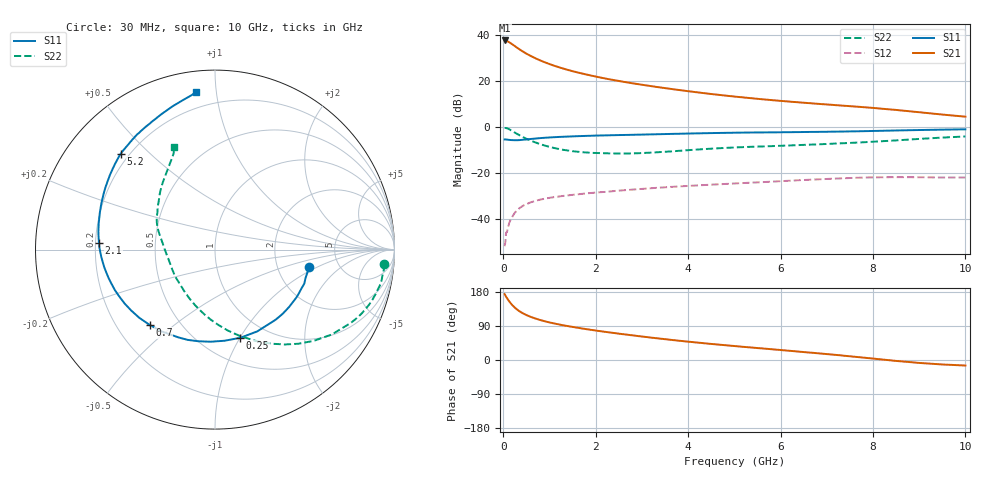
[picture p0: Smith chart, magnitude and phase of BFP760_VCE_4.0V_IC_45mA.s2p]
! Infineon Technologies  Discrete & RF Semiconductors
! BFP760
! VCE =  4.0 V,  IC =  45 mA
! Common Emitter S-Parameters:  Nov 2012
# GHz  S  MA  R  50
!  f  S11  S21  S12  S22
! GHz  MAG  ANG  MAG  ANG  MAG  ANG  MAG  ANG
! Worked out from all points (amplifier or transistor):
!   99 points, 30 MHz to 10 GHz, reference 50 ohm
!   highest |S21| = 37.7 dB at 30 MHz (marker M1)
!   |S21| within 3 dB of that: start of sweep to 289 MHz
!   unconditionally stable (mu >= 1): 3.801 GHz to end of sweep
!   at 350 MHz: K = 0.37, MSG = 34.7 dB, |S12| = -35.5 dB
!   at 3.5 GHz: K = 0.98, MSG = 21.6 dB, |S12| = -26.4 dB
!   at 10 GHz: K = 1.05, MAG = 11.9 dB, |S12| = -22.1 dB
!   S11 on the Smith chart (normalised r, x): 30 MHz: 3.02, -0.80; 250 MHz: 0.75, -1.00; 700 MHz: 0.34, -0.41; 2.1 GHz: 0.21, +0.03; 5.2 GHz: 0.17, +0.41; 10 GHz: 0.11, +0.88
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0.03  0.53 -10.3  76.41 173.8  0.0025 69.1  0.9475 -5.0
0.07  0.5278 -24.6  74.96 165.4  0.005 71.6  0.9348 -13.6
0.1  0.523 -34.2  72.5 159.8  0.0064 72.3  0.9124 -19.5
0.13  0.5195 -43.5  69.65 154.7  0.0081 66.9  0.8832 -24.9
0.15  0.5162 -49.4  67.73 151.5  0.009 69.1  0.8604 -28.3
0.2  0.5129 -62.7  62.58 144.3  0.0111 64.7  0.8046 -36.0
0.25  0.5112 -74.0  57.72 138.3  0.0134 62.1  0.7502 -42.6
0.3  0.5106 -84.0  53.12 133.1  0.0151 58.1  0.7014 -48.4
0.35  0.5138 -92.7  49.02 128.8  0.0168 56.4  0.6566 -53.6
0.45  0.5255 -106.8  42.31 121.7  0.0196 52.7  0.5825 -62.7
0.6  0.5436 -122.8  34.86 113.6  0.0227 48.1  0.4983 -74.3
0.7  0.5556 -131.0  31.12 109.3  0.0244 45.5  0.4553 -81.2
0.9  0.5772 -144.0  25.53 102.2  0.0271 42.5  0.3899 -93.7
1.1  0.5939 -153.9  21.55 96.5  0.0293 40.3  0.3455 -104.6
1.7  0.6296 -173.8  14.58 83.3  0.0345 38.0  0.2796 -131.1
2.1  0.6474 176.9  11.89 76.0  0.0376 37.2  0.2673 -145.5
3.4  0.6918 154.2  7.215 56.3  0.0473 35.5  0.2816 178.9
5.1  0.7467 135.3  4.471 35.8  0.0588 31.8  0.358 154.9
5.2  0.7489 134.5  4.37 34.7  0.0595 31.6  0.3612 153.9
6.7  0.7751 123.8  3.236 19.0  0.0708 26.9  0.4111 140.0
8.5  0.8326 106.5  2.334 -2.4  0.0801 15.5  0.5058 122.4
10  0.8823 97.0  1.666 -14.6  0.0784 10.3  0.6164 111.7
